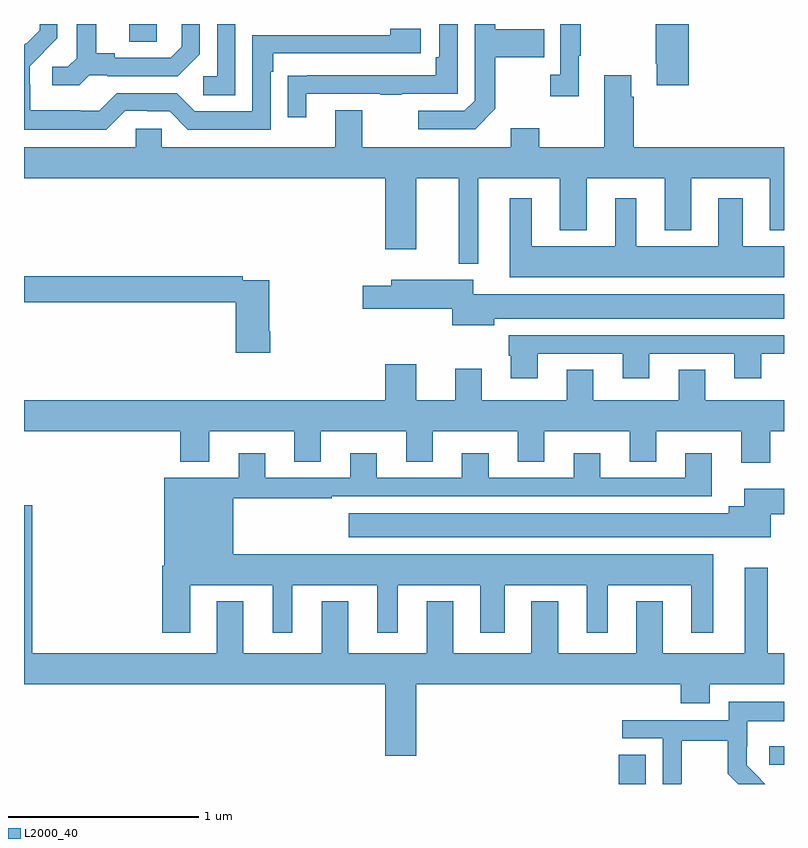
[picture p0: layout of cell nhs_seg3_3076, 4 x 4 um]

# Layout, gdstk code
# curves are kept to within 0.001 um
import gdstk
lib = gdstk.Library(unit=1e-6, precision=1e-09)
def R(c, l, rs):  # rectangles x0, y0, x1, y1
    for r in rs: c.add(gdstk.rectangle(r[:2], r[2:], *l))
def P(c, l, *ps):  # polygons
    for p in ps: c.add(gdstk.Polygon(p, *l))
L2000_40 = (2000, 40)

nhs_seg3_3076 = lib.new_cell('nhs_seg3_3076')
R(nhs_seg3_3076, L2000_40, [(274.13,692.4,274.273,692.555), (274.923,692.502,275,692.599), (271.553,696.307,271.698,696.4)])
P(nhs_seg3_3076, L2000_40, [(274.499,696.4),(274.324,696.4),(274.324,696.19),(274.331,696.19),(274.331,696.078),(274.499,696.078)],
  [(273.919,696.233),(273.931,696.233),(273.931,696.4),(273.822,696.4),(273.822,696.134),(273.771,696.134),(273.771,696.021),(273.919,696.021)],
  [(271.344,696.129),(271.438,696.129),(271.438,696.126),(271.81,696.126),(271.926,696.242),(271.926,696.4),(271.829,696.4),(271.829,696.279),(271.772,696.222),(271.477,696.222),(271.477,696.245),(271.381,696.245),(271.381,696.4),(271.277,696.4),(271.277,696.221),(271.23,696.174),(271.149,696.174),(271.149,696.077),(271.292,696.077)],
  [(272.112,696.4),(272.016,696.4),(272.016,696.126),(271.944,696.126),(271.944,696.025),(272.112,696.025)],
  [(271.533,695.943),(271.649,695.943),(271.649,695.94),(271.767,695.94),(271.863,695.844),(272.298,695.844),(272.298,696.149),(272.311,696.149),(272.311,696.246),(273.088,696.246),(273.088,696.376),(272.927,696.376),(272.927,696.342),(272.202,696.342),(272.202,695.94),(271.899,695.94),(271.803,696.036),(271.488,696.036),(271.395,695.943),(271.295,695.943),(271.295,695.947),(271.032,695.947),(271.032,696.081),(271.03,696.081),(271.03,696.178),(271.176,696.326),(271.176,696.4),(271.082,696.4),(271.082,696.368),(271.011,696.297),(271.008,696.3),(271,696.292),(271,695.843),(271.433,695.843)],
  [(272.485,696.033),(272.875,696.033),(272.875,696.028),(272.987,696.028),(272.987,696.033),(273.282,696.033),(273.282,696.4),(273.186,696.4),(273.186,696.226),(273.166,696.226),(273.166,696.129),(272.491,696.129),(272.491,696.128),(272.389,696.128),(272.389,695.91),(272.485,695.91)],
  [(273.481,695.953),(273.481,696.226),(273.737,696.226),(273.737,696.373),(273.481,696.373),(273.481,696.4),(273.372,696.4),(273.372,695.997),(273.318,695.943),(273.075,695.943),(273.075,695.847),(273.375,695.847)],
  [(273.391,695.588),(273.821,695.588),(273.821,695.315),(273.961,695.315),(273.961,695.588),(274.373,695.588),(274.373,695.315),(274.513,695.315),(274.513,695.588),(274.925,695.588),(274.925,695.315),(275,695.315),(275,695.752),(274.208,695.752),(274.208,696.017),(274.195,696.017),(274.195,696.13),(274.055,696.13),(274.055,695.752),(273.711,695.752),(273.711,695.851),(273.563,695.851),(273.563,695.752),(272.779,695.752),(272.779,695.947),(272.639,695.947),(272.639,695.752),(271.725,695.752),(271.725,695.85),(271.587,695.85),(271.587,695.752),(271,695.752),(271,695.588),(272.9,695.588),(272.9,695.214),(273.064,695.214),(273.064,695.588),(273.287,695.588),(273.287,695.251),(273.288,695.251),(273.288,695.139),(273.391,695.139)],
  [(275,695.23),(274.783,695.23),(274.783,695.482),(274.655,695.482),(274.655,695.23),(274.222,695.23),(274.222,695.482),(274.112,695.482),(274.112,695.23),(273.673,695.23),(273.673,695.482),(273.557,695.482),(273.557,695.066),(275,695.066)],
  [(272.297,694.783),(272.292,694.783),(272.292,695.052),(272.15,695.052),(272.15,695.072),(271,695.072),(271,694.936),(272.114,694.936),(272.114,694.671),(272.297,694.671)],
  [(273.475,694.85),(275,694.85),(275,694.978),(273.364,694.978),(273.364,695.053),(272.933,695.053),(272.933,695.023),(272.784,695.023),(272.784,694.901),(273.254,694.901),(273.254,694.814),(273.475,694.814)],
  [(273.703,694.665),(274.151,694.665),(274.151,694.536),(274.291,694.536),(274.291,694.665),(274.739,694.665),(274.739,694.536),(274.879,694.536),(274.879,694.665),(275,694.665),(275,694.761),(273.551,694.761),(273.551,694.653),(273.563,694.653),(273.563,694.536),(273.703,694.536)],
  [(274.928,694.256),(275,694.256),(275,694.42),(274.585,694.42),(274.585,694.58),(274.445,694.58),(274.445,694.42),(273.997,694.42),(273.997,694.58),(273.857,694.58),(273.857,694.42),(273.409,694.42),(273.409,694.585),(273.269,694.585),(273.269,694.42),(273.064,694.42),(273.064,694.609),(272.9,694.609),(272.9,694.42),(271,694.42),(271,694.256),(271.823,694.256),(271.823,694.097),(271.975,694.097),(271.975,694.256),(272.423,694.256),(272.423,694.096),(272.563,694.096),(272.563,694.256),(273.011,694.256),(273.011,694.096),(273.151,694.096),(273.151,694.256),(273.599,694.256),(273.599,694.096),(273.739,694.096),(273.739,694.256),(274.187,694.256),(274.187,694.096),(274.327,694.096),(274.327,694.256),(274.775,694.256),(274.775,694.092),(274.928,694.092)],
  [(271.876,693.446),(272.309,693.446),(272.309,693.195),(272.413,693.195),(272.413,693.446),(272.858,693.446),(272.858,693.195),(272.968,693.195),(272.968,693.446),(273.401,693.446),(273.401,693.195),(273.529,693.195),(273.529,693.446),(273.962,693.446),(273.962,693.195),(274.072,693.195),(274.072,693.446),(274.511,693.446),(274.511,693.195),(274.627,693.195),(274.627,693.61),(272.101,693.61),(272.101,693.903),(272.621,693.903),(272.621,693.915),(274.621,693.915),(274.621,694.141),(274.481,694.141),(274.481,694.011),(274.033,694.011),(274.033,694.141),(273.893,694.141),(273.893,694.011),(273.445,694.011),(273.445,694.141),(273.305,694.141),(273.305,694.011),(272.857,694.011),(272.857,694.141),(272.717,694.141),(272.717,694.011),(272.269,694.011),(272.269,694.141),(272.129,694.141),(272.129,694.012),(271.739,694.012),(271.739,693.55),(271.727,693.55),(271.727,693.195),(271.876,693.195)],
  [(274.93,693.821),(275,693.821),(275,693.955),(274.79,693.955),(274.79,693.862),(274.709,693.862),(274.709,693.826),(272.709,693.826),(272.709,693.698),(274.93,693.698)],
  [(273.064,692.924),(274.457,692.924),(274.457,692.825),(274.609,692.825),(274.609,692.924),(275,692.924),(275,693.088),(274.915,693.088),(274.915,693.538),(274.793,693.538),(274.793,693.088),(274.363,693.088),(274.363,693.361),(274.223,693.361),(274.223,693.088),(273.811,693.088),(273.811,693.361),(273.671,693.361),(273.671,693.088),(273.259,693.088),(273.259,693.361),(273.119,693.361),(273.119,693.088),(272.707,693.088),(272.707,693.361),(272.567,693.361),(272.567,693.088),(272.155,693.088),(272.155,693.361),(272.015,693.361),(272.015,693.088),(271.043,693.088),(271.043,693.867),(271,693.867),(271,692.924),(272.9,692.924),(272.9,692.55),(273.064,692.55)],
  [(274.458,692.404),(274.461,692.404),(274.461,692.628),(274.705,692.628),(274.705,692.453),(274.758,692.4),(274.9,692.4),(274.877,692.423),(274.878,692.424),(274.804,692.498),(274.804,692.595),(274.806,692.595),(274.806,692.729),(275,692.729),(275,692.833),(274.71,692.833),(274.71,692.736),(274.149,692.736),(274.149,692.64),(274.362,692.64),(274.362,692.4),(274.458,692.4)])

lib.write_gds('nhs_seg3_3076.gds')
